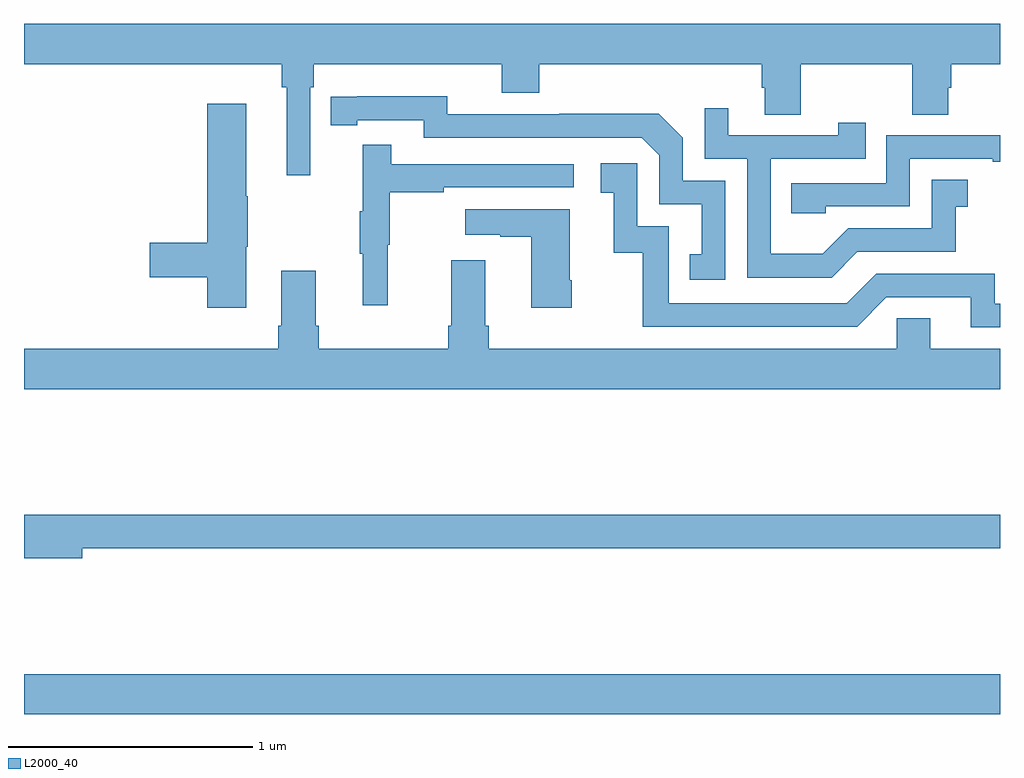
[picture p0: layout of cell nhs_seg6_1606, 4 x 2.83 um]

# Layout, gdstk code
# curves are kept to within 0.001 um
import gdstk
lib = gdstk.Library(unit=1e-6, precision=1e-09)
def R(c, l, rs):  # rectangles x0, y0, x1, y1
    for r in rs: c.add(gdstk.rectangle(r[:2], r[2:], *l))
def P(c, l, *ps):  # polygons
    for p in ps: c.add(gdstk.Polygon(p, *l))
L2000_40 = (2000, 40)

nhs_seg6_1606 = lib.new_cell('nhs_seg6_1606')
R(nhs_seg6_1606, L2000_40, [(207,988.628,211,988.792)])
P(nhs_seg6_1606, L2000_40, [(208.173,991.196),(208.187,991.196),(208.187,991.292),(208.958,991.292),(208.958,991.175),(209.111,991.175),(209.111,991.292),(210.023,991.292),(210.023,991.194),(210.035,991.194),(210.035,991.084),(210.183,991.084),(210.183,991.292),(210.64,991.292),(210.64,991.084),(210.787,991.084),(210.787,991.194),(210.8,991.194),(210.8,991.292),(211,991.292),(211,991.456),(207,991.456),(207,991.292),(208.057,991.292),(208.057,991.196),(208.076,991.196),(208.076,990.837),(208.173,990.837)],
  [(209.874,990.813),(209.7,990.813),(209.7,990.99),(209.602,991.088),(209.194,991.088),(209.194,991.086),(208.734,991.086),(208.734,991.159),(208.258,991.158),(208.258,991.042),(208.366,991.042),(208.366,991.062),(208.638,991.062),(208.638,990.99),(209.532,990.99),(209.604,990.918),(209.604,990.717),(209.777,990.717),(209.777,990.513),(209.728,990.513),(209.728,990.408),(209.874,990.408)],
  [(207.91,990.543),(207.918,990.543),(207.918,990.749),(207.91,990.749),(207.91,991.129),(207.752,991.129),(207.752,990.56),(207.516,990.56),(207.516,990.418),(207.752,990.418),(207.752,990.294),(207.91,990.294)],
  [(210.415,990.522),(210.819,990.522),(210.819,990.707),(210.868,990.707),(210.868,990.817),(210.72,990.817),(210.72,990.618),(210.378,990.618),(210.274,990.514),(210.06,990.514),(210.06,990.903),(210.449,990.903),(210.449,991.051),(210.338,991.051),(210.338,990.999),(209.887,990.999),(209.887,991.111),(209.79,991.111),(209.79,990.903),(209.964,990.903),(209.964,990.417),(210.31,990.417)],
  [(210.285,990.708),(210.63,990.708),(210.63,990.903),(210.971,990.903),(210.971,990.891),(211,990.891),(211,990.999),(210.534,990.999),(210.534,990.804),(210.145,990.804),(210.145,990.681),(210.285,990.681)],
  [(208.49,990.552),(208.498,990.552),(208.498,990.766),(208.721,990.766),(208.721,990.786),(209.254,990.786),(209.254,990.882),(208.505,990.882),(208.505,990.961),(208.388,990.961),(208.388,990.689),(208.377,990.689),(208.377,990.515),(208.388,990.515),(208.388,990.303),(208.49,990.303)],
  [(211,990.309),(210.978,990.309),(210.978,990.432),(210.492,990.432),(210.372,990.312),(209.643,990.312),(209.643,990.627),(209.514,990.627),(209.514,990.886),(209.364,990.886),(209.364,990.765),(209.417,990.765),(209.417,990.519),(209.535,990.519),(209.535,990.216),(210.414,990.216),(210.534,990.336),(210.881,990.336),(210.881,990.213),(211,990.213)],
  [(209.244,990.406),(209.236,990.406),(209.236,990.697),(208.809,990.697),(208.809,990.593),(208.952,990.593),(208.952,990.583),(209.078,990.583),(209.078,990.294),(209.244,990.294)],
  [(208.195,990.22),(208.195,990.445),(208.055,990.445),(208.055,990.22),(208.043,990.22),(208.043,990.124),(207,990.124),(207,989.96),(211,989.96),(211,990.124),(210.715,990.124),(210.715,990.251),(210.576,990.251),(210.576,990.124),(208.904,990.124),(208.904,990.22),(208.891,990.22),(208.891,990.487),(208.751,990.487),(208.751,990.22),(208.739,990.22),(208.739,990.124),(208.208,990.124),(208.208,990.22)],
  [(207.238,989.308),(211,989.308),(211,989.444),(207,989.444),(207,989.266),(207.238,989.266)])

lib.write_gds('nhs_seg6_1606.gds')
